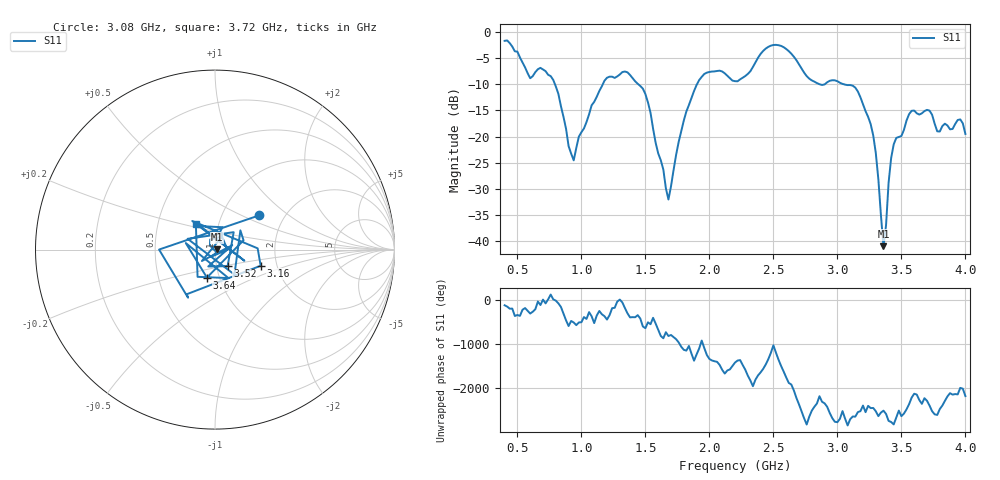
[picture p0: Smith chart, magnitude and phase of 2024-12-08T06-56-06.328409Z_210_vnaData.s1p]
!Created with skrf (http://scikit-rf.org).
# Hz S RI R 50.0
!freq ReS11 ImS11
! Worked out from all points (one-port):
!   181 points, 400 MHz to 4 GHz, reference 50 ohm
!   lowest |S11| = -41.0 dB at 3.36 GHz (marker M1), VSWR 1.02, Z = 50.9 + j0.2 ohm
!   |S11| at or under -10 dB: 793.7 MHz to 1.167 GHz (373 MHz wide, 38.1 % of centre); 1.446 GHz to 1.902 GHz (456.7 MHz wide, 27.3 % of centre); 3.054 GHz to end of sweep (the widest 3 of 4)
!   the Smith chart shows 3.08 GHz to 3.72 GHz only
!   S11 on the Smith chart (normalised r, x): 3.08 GHz: 1.49, +0.63; 3.16 GHz: 1.64, -0.32; 3.52 GHz: 1.13, -0.21; 3.64 GHz: 0.87, -0.28; 3.72 GHz: 0.78, +0.23
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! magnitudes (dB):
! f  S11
! 400 MHz  -1.7
! 600 MHz  -8.8
! 760 MHz  -8.4
! 860 MHz  -16.2
! 940 MHz  -24.6
! 1.18 GHz  -9.3
! 1.3 GHz  -8.1
! 1.5 GHz  -11.9
! 1.68 GHz  -32.1
! 1.76 GHz  -21.0
! 1.96 GHz  -8.0
! 2.2 GHz  -9.4
! 2.48 GHz  -2.6
! 2.66 GHz  -4.7
! 2.8 GHz  -9.2
! 3.08 GHz  -10.1
! 3.1 GHz  -10.1
! 3.16 GHz  -11.4
! 3.28 GHz  -19.8
! 3.36 GHz  -41.0
! 3.42 GHz  -24.1
! 3.52 GHz  -18.7
! 3.56 GHz  -15.7
! 3.64 GHz  -15.8
! 3.72 GHz  -15.0
! 3.78 GHz  -19.0
! 3.96 GHz  -16.7
! 4 GHz  -19.5
